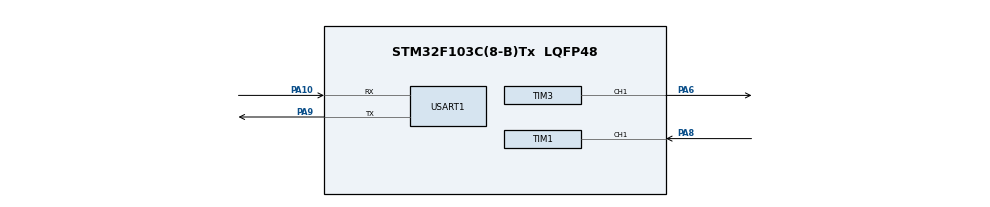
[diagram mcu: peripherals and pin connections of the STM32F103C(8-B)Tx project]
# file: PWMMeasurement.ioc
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Mcu.Family=STM32F1
Mcu.Name=STM32F103C(8-B)Tx
Mcu.Package=LQFP48
NVIC.PriorityGroup=NVIC_PRIORITYGROUP_4
PA10.Mode=Asynchronous
PA10.Signal=USART1_RX
PA13.Mode=Serial_Wire
PA13.Signal=SYS_JTMS-SWDIO
PA14.Mode=Serial_Wire
PA14.Signal=SYS_JTCK-SWCLK
PA6.Signal=S_TIM3_CH1
PA8.Signal=S_TIM1_CH1
PA9.Mode=Asynchronous
PA9.Signal=USART1_TX
ProjectManager.HeapSize=0x200
ProjectManager.StackSize=0x400
ProjectManager.TargetToolchain=MDK-ARM V5.32
RCC.APB1Freq_Value=8000000
RCC.APB2Freq_Value=8000000
SH.S_TIM1_CH1.0=TIM1_CH1,Input_Capture1_from_TI1
SH.S_TIM1_CH1.1=TIM1_CH1,TriggerSource_TI1FP1
SH.S_TIM3_CH1.0=TIM3_CH1,PWM Generation1 CH1
TIM1.AutoReloadPreload=TIM_AUTORELOAD_PRELOAD_ENABLE
TIM1.Channel-Input_Capture1_from_TI1=TIM_CHANNEL_1
TIM1.Channel-Input_Capture2_from_TI1_63=TIM_CHANNEL_2
TIM1.ICPolarity_CH2=TIM_INPUTCHANNELPOLARITY_FALLING
TIM1.Prescaler=7
TIM3.AutoReloadPreload=TIM_AUTORELOAD_PRELOAD_ENABLE
TIM3.Channel-PWM\ Generation1\ CH1=TIM_CHANNEL_1
TIM3.Period=999
TIM3.Prescaler=7
USART1.VirtualMode=VM_ASYNC
VP_TIM1_VS_ClockSourceINT.Mode=Internal
VP_TIM1_VS_ControllerModeReset.Mode=Reset Mode
VP_TIM1_VS_indirect_ch1.Mode=Input_Capture2_from_TI1_63
VP_TIM3_VS_ClockSourceINT.Mode=Internal
board=custom

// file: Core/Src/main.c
/* USER CODE BEGIN Header */
/**
  ******************************************************************************
  * @file           : main.c
  * @brief          : Main program body
  ******************************************************************************
  * @attention
  *
  * Copyright (c) 2026 STMicroelectronics.
  * All rights reserved.
  *
  * This software is licensed under terms that can be found in the LICENSE file
  * in the root directory of this software component.
  * If no LICENSE file comes with this software, it is provided AS-IS.
  *
  ******************************************************************************
  */
/* USER CODE END Header */
#include "main.h"

TIM_HandleTypeDef htim1;
TIM_HandleTypeDef htim3;

UART_HandleTypeDef huart1;

void SystemClock_Config(void);
static void MX_GPIO_Init(void);
static void MX_USART1_UART_Init(void);
static void MX_TIM1_Init(void);
static void MX_TIM3_Init(void);

/* USER CODE BEGIN 0 */
#include <stdarg.h>
#include <stdio.h>
#include <string.h>

static void UART_Printf(const char *format, ...)
{
	char tmp[128];

	va_list argptr;
	va_start(argptr, format);
	vsprintf((char* )tmp, format, argptr);
	va_end(argptr);

	HAL_UART_Transmit(&huart1, (const uint8_t *)&tmp, strlen(tmp), HAL_MAX_DELAY);
}
/* USER CODE END 0 */

int main(void)
{

  /* MCU Configuration--------------------------------------------------------*/

  /* Reset of all peripherals, Initializes the Flash interface and the Systick. */
  HAL_Init();

  /* Configure the system clock */
  SystemClock_Config();

  /* Initialize all configured peripherals */
  MX_GPIO_Init();
  MX_USART1_UART_Init();
  MX_TIM1_Init();
  MX_TIM3_Init();

  /* Infinite loop */
  /* USER CODE BEGIN WHILE */
  while (1)
  {
	__HAL_TIM_CLEAR_FLAG(&htim1, TIM_FLAG_CC1);

HAL_TIM_IC_Start(&htim1, TIM_CHANNEL_1);
HAL_TIM_IC_Start(&htim1, TIM_CHANNEL_2);

while(__HAL_TIM_GET_FLAG(&htim1, TIM_FLAG_CC1) == 0);
__HAL_TIM_CLEAR_FLAG(&htim1, TIM_FLAG_CC1);

while(__HAL_TIM_GET_FLAG(&htim1, TIM_FLAG_CC1) == 0);

HAL_TIM_IC_Stop(&htim1, TIM_CHANNEL_1);
HAL_TIM_IC_Stop(&htim1, TIM_CHANNEL_2);

uint16_t ccr1 = __HAL_TIM_GET_COMPARE(&htim1, TIM_CHANNEL_1);
uint16_t ccr2 = __HAL_TIM_GET_COMPARE(&htim1, TIM_CHANNEL_2);

float period = ccr1 * 1e-6f;
float pulseWidth = ccr2 * 1e-6f;
float duty = pulseWidth / period;

UART_Printf("miankuan = %.1fus, zhouqi = %.1fus, zhankongbi = %.1f%%",
            pulseWidth*1e6f, period*1e6f, duty * 100.0f);

HAL_Delay(500);

    /* USER CODE END WHILE */

  }
}

void SystemClock_Config(void)
{
  RCC_OscInitTypeDef RCC_OscInitStruct = {0};
  RCC_ClkInitTypeDef RCC_ClkInitStruct = {0};

  /** Initializes the RCC Oscillators according to the specified parameters
  * in the RCC_OscInitTypeDef structure.
  */
  RCC_OscInitStruct.OscillatorType = RCC_OSCILLATORTYPE_HSI;
  RCC_OscInitStruct.HSIState = RCC_HSI_ON;
  RCC_OscInitStruct.HSICalibrationValue = RCC_HSICALIBRATION_DEFAULT;
  RCC_OscInitStruct.PLL.PLLState = RCC_PLL_NONE;
  if (HAL_RCC_OscConfig(&RCC_OscInitStruct) != HAL_OK)
  {
    Error_Handler();
  }

  /** Initializes the CPU, AHB and APB buses clocks
  */
  RCC_ClkInitStruct.ClockType = RCC_CLOCKTYPE_HCLK|RCC_CLOCKTYPE_SYSCLK
                              |RCC_CLOCKTYPE_PCLK1|RCC_CLOCKTYPE_PCLK2;
  RCC_ClkInitStruct.SYSCLKSource = RCC_SYSCLKSOURCE_HSI;
  RCC_ClkInitStruct.AHBCLKDivider = RCC_SYSCLK_DIV1;
  RCC_ClkInitStruct.APB1CLKDivider = RCC_HCLK_DIV1;
  RCC_ClkInitStruct.APB2CLKDivider = RCC_HCLK_DIV1;

  if (HAL_RCC_ClockConfig(&RCC_ClkInitStruct, FLASH_LATENCY_0) != HAL_OK)
  {
    Error_Handler();
  }
}

static void MX_TIM1_Init(void)
{

  TIM_ClockConfigTypeDef sClockSourceConfig = {0};
  TIM_SlaveConfigTypeDef sSlaveConfig = {0};
  TIM_MasterConfigTypeDef sMasterConfig = {0};
  TIM_IC_InitTypeDef sConfigIC = {0};

  htim1.Instance = TIM1;
  htim1.Init.Prescaler = 7;
  htim1.Init.CounterMode = TIM_COUNTERMODE_UP;
  htim1.Init.Period = 65535;
  htim1.Init.ClockDivision = TIM_CLOCKDIVISION_DIV1;
  htim1.Init.RepetitionCounter = 0;
  htim1.Init.AutoReloadPreload = TIM_AUTORELOAD_PRELOAD_ENABLE;
  if (HAL_TIM_Base_Init(&htim1) != HAL_OK)
  {
    Error_Handler();
  }
  sClockSourceConfig.ClockSource = TIM_CLOCKSOURCE_INTERNAL;
  if (HAL_TIM_ConfigClockSource(&htim1, &sClockSourceConfig) != HAL_OK)
  {
    Error_Handler();
  }
  if (HAL_TIM_IC_Init(&htim1) != HAL_OK)
  {
    Error_Handler();
  }
  sSlaveConfig.SlaveMode = TIM_SLAVEMODE_RESET;
  sSlaveConfig.InputTrigger = TIM_TS_TI1FP1;
  sSlaveConfig.TriggerPolarity = TIM_INPUTCHANNELPOLARITY_RISING;
  sSlaveConfig.TriggerFilter = 0;
  if (HAL_TIM_SlaveConfigSynchro(&htim1, &sSlaveConfig) != HAL_OK)
  {
    Error_Handler();
  }
  sMasterConfig.MasterOutputTrigger = TIM_TRGO_RESET;
  sMasterConfig.MasterSlaveMode = TIM_MASTERSLAVEMODE_DISABLE;
  if (HAL_TIMEx_MasterConfigSynchronization(&htim1, &sMasterConfig) != HAL_OK)
  {
    Error_Handler();
  }
  sConfigIC.ICPolarity = TIM_INPUTCHANNELPOLARITY_RISING;
  sConfigIC.ICSelection = TIM_ICSELECTION_DIRECTTI;
  sConfigIC.ICPrescaler = TIM_ICPSC_DIV1;
  sConfigIC.ICFilter = 0;
  if (HAL_TIM_IC_ConfigChannel(&htim1, &sConfigIC, TIM_CHANNEL_1) != HAL_OK)
  {
    Error_Handler();
  }
  sConfigIC.ICPolarity = TIM_INPUTCHANNELPOLARITY_FALLING;
  sConfigIC.ICSelection = TIM_ICSELECTION_INDIRECTTI;
  if (HAL_TIM_IC_ConfigChannel(&htim1, &sConfigIC, TIM_CHANNEL_2) != HAL_OK)
  {
    Error_Handler();
  }

}

static void MX_TIM3_Init(void)
{

  TIM_ClockConfigTypeDef sClockSourceConfig = {0};
  TIM_MasterConfigTypeDef sMasterConfig = {0};
  TIM_OC_InitTypeDef sConfigOC = {0};

  htim3.Instance = TIM3;
  htim3.Init.Prescaler = 7;
  htim3.Init.CounterMode = TIM_COUNTERMODE_UP;
  htim3.Init.Period = 999;
  htim3.Init.ClockDivision = TIM_CLOCKDIVISION_DIV1;
  htim3.Init.AutoReloadPreload = TIM_AUTORELOAD_PRELOAD_ENABLE;
  if (HAL_TIM_Base_Init(&htim3) != HAL_OK)
  {
    Error_Handler();
  }
  sClockSourceConfig.ClockSource = TIM_CLOCKSOURCE_INTERNAL;
  if (HAL_TIM_ConfigClockSource(&htim3, &sClockSourceConfig) != HAL_OK)
  {
    Error_Handler();
  }
  if (HAL_TIM_PWM_Init(&htim3) != HAL_OK)
  {
    Error_Handler();
  }
  sMasterConfig.MasterOutputTrigger = TIM_TRGO_RESET;
  sMasterConfig.MasterSlaveMode = TIM_MASTERSLAVEMODE_DISABLE;
  if (HAL_TIMEx_MasterConfigSynchronization(&htim3, &sMasterConfig) != HAL_OK)
  {
    Error_Handler();
  }
  sConfigOC.OCMode = TIM_OCMODE_PWM1;
  sConfigOC.Pulse = 0;
  sConfigOC.OCPolarity = TIM_OCPOLARITY_HIGH;
  sConfigOC.OCFastMode = TIM_OCFAST_DISABLE;
  if (HAL_TIM_PWM_ConfigChannel(&htim3, &sConfigOC, TIM_CHANNEL_1) != HAL_OK)
  {
    Error_Handler();
  }
  HAL_TIM_MspPostInit(&htim3);

}

static void MX_USART1_UART_Init(void)
{

  huart1.Instance = USART1;
  huart1.Init.BaudRate = 115200;
  huart1.Init.WordLength = UART_WORDLENGTH_8B;
  huart1.Init.StopBits = UART_STOPBITS_1;
  huart1.Init.Parity = UART_PARITY_NONE;
  huart1.Init.Mode = UART_MODE_TX_RX;
  huart1.Init.HwFlowCtl = UART_HWCONTROL_NONE;
  huart1.Init.OverSampling = UART_OVERSAMPLING_16;
  if (HAL_UART_Init(&huart1) != HAL_OK)
  {
    Error_Handler();
  }

}

static void MX_GPIO_Init(void)
{

  /* GPIO Ports Clock Enable */
  __HAL_RCC_GPIOA_CLK_ENABLE();

}

void Error_Handler(void)
{
  __disable_irq();
  while (1)
  {
  }
}
